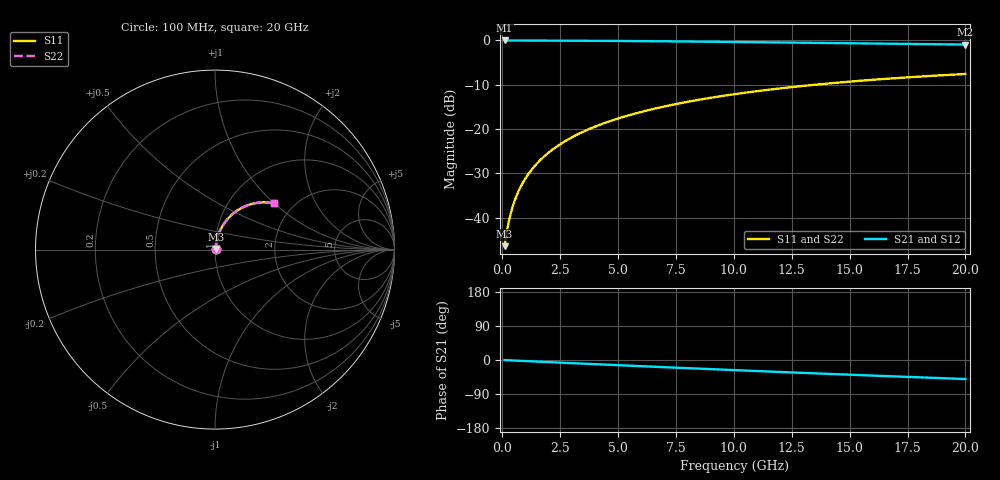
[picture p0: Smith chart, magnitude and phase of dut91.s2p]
! Touchstone file exported from HFSS 2026.1.0
!  File:  C:/ffzhzh/LocalFiles/Ansys_Project_Files/temp_train_BSMRDL_91_1782883220_8056.aedt
!  Generated:  01:21:45 PM Jul  1, 2026
!  Design:  BSMRDL
!  Project:  temp_train_BSMRDL_91_1782883220_8056
! Variables:
!  h_bsmrdl = 3.95um
!  h_ox = 20um
!  h_rdl = 5um
!  h_sub = 80um
!  h_tmrdl = 5um
!  h_tsv = 80um
!  h_via = 3um
!  l_bsmrdl = 777.34um
!  l_sub = 1177.34um
!  l_tmrdl = 200um
!  m_sub = 200um
!  pitch = 42.33um
!  r_tsv = 6um
!  s_tmrdl = 10um
!  w_bsmrdl = 19.43um
!  w_sub = 500um
!  w_tmrdl = 12um
!  x_tsv_center1 = 206um
!  x_tsv_center2 = 1002.77um
!  x_tsv_center3 = 1214.77um
!  x_tsv_center4 = 2011.54um
!  x_tsv_center5 = 2223.54um
!  x_tsv_center6 = 3020.31um
# GHz S MA R 50.000000
! Terminal data exported
! Port[1] = BSM_RDL1_1_T1
! Port[2] = BSM_RDL1_1_T2
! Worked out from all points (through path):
!   200 points, 100 MHz to 20 GHz, reference 50 ohm
!   highest |S21| = -0.03 dB at 100 MHz (marker M1); lowest = -1.0 dB at 20 GHz (marker M2)
!   group delay of S21, straight-line fit = 6.97 ps
!   lowest |S11| = -46.4 dB at 100 MHz (marker M3), VSWR 1.01, Z = 50.4 + j0.299 ohm
!   |S11| at or under -10 dB: start of sweep to 13.53 GHz
!   |S22| runs from -46.4 to -7.6 dB; largest |S21 - S12| = 3.5e-15
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0.1  0.004783 38.3  0.9963 -0.3  0.9963 -0.3  0.004783 38.3
! Gamma 0 0 0 0
! Port Impedance 50 0 50 0
0.2  0.007052 55.6  0.9961 -0.6  0.9961 -0.6  0.007052 55.6
0.3  0.00956 63.7  0.9958 -0.9  0.9958 -0.9  0.00956 63.7
0.4  0.01211 68.2  0.9957 -1.1  0.9957 -1.1  0.01211 68.2
0.5  0.01468 71.2  0.9955 -1.4  0.9955 -1.4  0.01468 71.2
0.6  0.01727 73.3  0.9954 -1.7  0.9954 -1.7  0.01727 73.3
0.8  0.02248 75.9  0.9951 -2.2  0.9951 -2.2  0.02248 75.9
1.1  0.03038 77.9  0.9948 -3.1  0.9948 -3.1  0.03038 77.9
1.3  0.03568 78.5  0.9945 -3.6  0.9945 -3.6  0.03568 78.5
1.6  0.04363 78.9  0.994 -4.4  0.994 -4.4  0.04363 78.9
2.1  0.05687 78.8  0.9931 -5.8  0.9931 -5.8  0.05687 78.8
2.7  0.07266 78.0  0.9917 -7.5  0.9917 -7.5  0.07266 78.0
3.5  0.09346 76.5  0.9893 -9.7  0.9893 -9.7  0.09346 76.5
4.2  0.1114 74.9  0.9869 -11.5  0.9869 -11.5  0.1114 74.9
5  0.1314 73.0  0.9838 -13.7  0.9838 -13.7  0.1314 73.0
5.9  0.1535 70.8  0.9799 -16.1  0.9799 -16.1  0.1535 70.8
6.8  0.175 68.6  0.9756 -18.4  0.9756 -18.4  0.175 68.6
8.3  0.2095 64.9  0.9678 -22.3  0.9678 -22.3  0.2095 64.9
10.1  0.2487 60.6  0.9575 -26.9  0.9575 -26.9  0.2487 60.6
13.4  0.3139 52.7  0.9371 -35.0  0.9371 -35.0  0.3138 52.8
16.7  0.3701 45.2  0.9159 -42.8  0.9159 -42.8  0.3701 45.2
20  0.4173 38.0  0.8952 -50.2  0.8952 -50.2  0.4173 38.0
